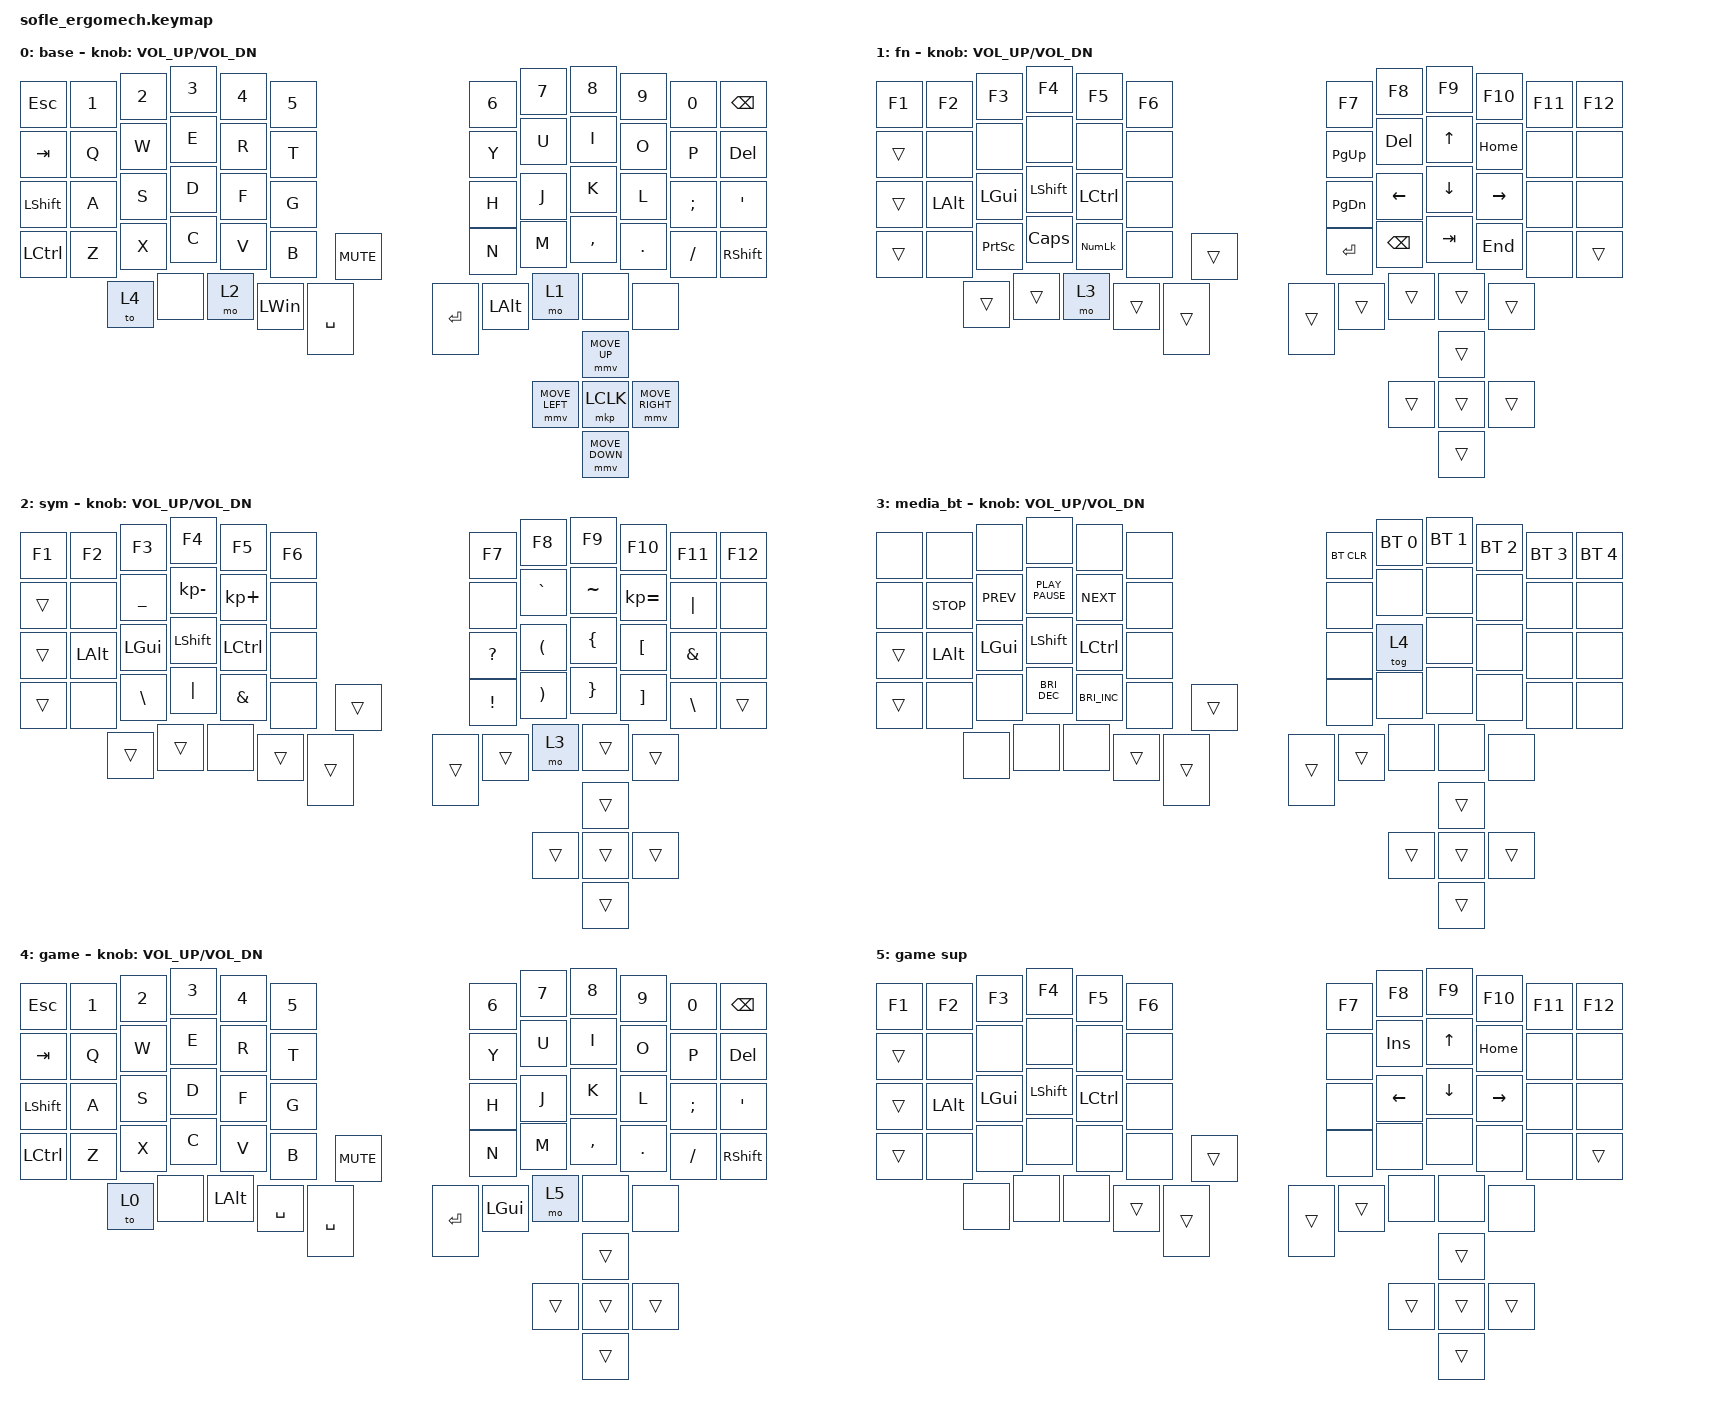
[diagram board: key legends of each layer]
/*
 * Copyright (c) 2020 The ZMK Contributors
 *
 * SPDX-License-Identifier: MIT
 */

#define ZMK_POINTING_DEFAULT_SCRL_VAL 300

#include <behaviors.dtsi>
#include <dt-bindings/zmk/bt.h>
#include <dt-bindings/zmk/keys.h>
#include <dt-bindings/zmk/pointing.h>

/ {
    conditional_layers { compatible = "zmk,conditional-layers"; };

    behaviors {
        mousescroll: mousescroll {
            compatible = "zmk,behavior-sensor-rotate";
            #sensor-binding-cells = <0>;
            bindings = <&msc SCRL_UP>, <&msc SCRL_DOWN>;
            tap-ms = <20>;
        };
    };

    keymap {
        compatible = "zmk,keymap";

        base {
            label = "base";

            // ------------------------------------------------------------------------------------------------------------
            // |   `   |  1  |  2  |  3   |  4   |  5   |                   |  6   |  7    |  8    |  9   |   0   |       |
            // |  ESC  |  Q  |  W  |  E   |  R   |  T   |                   |  Y   |  U    |  I    |  O   |   P   | BKSPC |
            // |  TAB  |  A  |  S  |  D   |  F   |  G   |                   |  H   |  J    |  K    |  L   |   ;   |   '   |
            // | SHIFT |  Z  |  X  |  C   |  V   |  B   |  MUTE  |  |       |  N   |  M    |  ,    |  .   |   /   | SHIFT |
            //               | GUI | ALT  | CTRL | LOWER|  ENTER |  | SPACE | RAISE| CTRL  | ALT   | GUI  |

            bindings = <
&kp ESCAPE        &kp N1  &kp N2  &kp N3  &kp N4        &kp N5     &kp N6      &kp N7           &kp N8        &kp N9          &kp N0          &kp BACKSPACE
&kp TAB           &kp Q   &kp W   &kp E   &kp R         &kp T      &kp Y       &kp U            &kp I         &kp O           &kp P           &kp DELETE
&kp LEFT_SHIFT    &kp A   &kp S   &kp D   &kp F         &kp G      &kp H       &kp J            &kp K         &kp L           &kp SEMI        &kp SQT
&kp LEFT_CONTROL  &kp Z   &kp X   &kp C   &kp V         &kp B      &kp N       &kp M            &kp COMMA     &kp DOT         &kp FSLH        &kp RSHFT
&kp C_MUTE        &to 4   &none   &mo 2   &kp LEFT_WIN  &kp SPACE  &kp RETURN  &kp LEFT_ALT     &mo 1         &none           &none
                                                                   &mkp LCLK   &mmv MOVE_RIGHT  &mmv MOVE_UP  &mmv MOVE_LEFT  &mmv MOVE_DOWN
            >;

            sensor-bindings = <&inc_dec_kp C_VOL_UP C_VOL_DN>;
        };

        function_keys {
            label = "fn";

            // TODO: Some binds are waiting for shifted keycode support.
            // ------------------------------------------------------------------------------------------------------------
            // |       |  F1 |  F2 |  F3  |  F4  |  F5  |                   |  F6  |  F7   |  F8   |  F9  |  F10  |  F11  |
            // |   `   |  1  |  2  |  3   |  4   |  5   |                   |  6   |  7    |  8    |  9   |   0   |  F12  |
            // |       |  !  |  @  |  #   |  $   |  %   |                   |  ^   |  &    |  *    |  (   |   )   |   |   |
            // |       |  =  |  -  |  +   |  {   |  }   |        |  |       |  [   |  ]    |  ;    |  :   |   \   |       |
            //               |     |      |      |      |        |  |       |      |       |       |      |

            bindings = <
&kp F1  &kp F2        &kp F3           &kp F4          &kp F5          &kp F6  &kp F7         &kp F8          &kp F9          &kp F10          &kp F11  &kp F12
&trans  &none         &none            &none           &none           &none   &kp PAGE_UP    &kp DEL         &kp UP_ARROW    &kp HOME         &none    &none
&trans  &kp LEFT_ALT  &kp LEFT_GUI     &kp LEFT_SHIFT  &kp LCTRL       &none   &kp PAGE_DOWN  &kp LEFT_ARROW  &kp DOWN_ARROW  &kp RIGHT_ARROW  &none    &none
&trans  &none         &kp PRINTSCREEN  &kp CAPSLOCK    &kp KP_NUMLOCK  &none   &kp ENTER      &kp BACKSPACE   &kp TAB         &kp END          &none    &trans
&trans  &trans        &trans           &mo 3           &trans          &trans  &trans         &trans          &trans          &trans           &trans
                                                                               &trans         &trans          &trans          &trans           &trans
            >;

            sensor-bindings = <&inc_dec_kp C_VOL_UP C_VOL_DN>;
        };

        symbols {
            label = "sym";

            // ------------------------------------------------------------------------------------------------------------
            // | BTCLR | BT1  | BT2  |  BT3  |  BT4  |  BT5 |                |      |      |       |      |       |       |
            // |       | INS  | PSCR | GUI   |       |      |                | PGUP |      |   ^   |      |       |       |
            // |       | ALT  | CTRL | SHIFT |       | CAPS |                | PGDN |   <- |   v   |  ->  |  DEL  | BKSPC |
            // |       | UNDO | CUT  | COPY  | PASTE |      |      |  |      |      |      |       |      |       |       |
            //                |      |       |       |      |      |  |      |      |      |       |      |

            bindings = <
&kp F1  &kp F2    &kp F3         &kp F4        &kp F5            &kp F6  &kp F7        &kp F8                 &kp F9           &kp F10            &kp F11        &kp F12
&trans  &none     &kp UNDER      &kp KP_MINUS  &kp KP_PLUS       &none   &none         &kp GRAVE              &kp TILDE        &kp KP_EQUAL       &kp PIPE       &none
&trans  &kp LALT  &kp LEFT_GUI   &kp LSHFT     &kp LEFT_CONTROL  &none   &kp QUESTION  &kp LEFT_PARENTHESIS   &kp LEFT_BRACE   &kp LEFT_BRACKET   &kp AMPERSAND  &none
&trans  &none     &kp BACKSLASH  &kp PIPE      &kp AMPERSAND     &none   &kp EXCL      &kp RIGHT_PARENTHESIS  &kp RIGHT_BRACE  &kp RIGHT_BRACKET  &kp BACKSLASH  &trans
&trans  &trans    &trans         &none         &trans            &trans  &trans        &trans                 &mo 3            &trans             &trans
                                                                         &trans        &trans                 &trans           &trans             &trans
            >;

            sensor-bindings = <&inc_dec_kp C_VOL_UP C_VOL_DN>;
        };

        media_and_bt {
            bindings = <
&none   &none         &none         &none                 &none                 &none   &bt BT_CLR  &bt BT_SEL 0  &bt BT_SEL 1  &bt BT_SEL 2  &bt BT_SEL 3  &bt BT_SEL 4
&none   &kp K_STOP    &kp K_PREV    &kp K_PLAY_PAUSE      &kp K_NEXT            &none   &none       &none         &none         &none         &none         &none
&trans  &kp LEFT_ALT  &kp LEFT_GUI  &kp LEFT_SHIFT        &kp LEFT_CONTROL      &none   &none       &tog 4        &none         &none         &none         &none
&trans  &none         &none         &kp C_BRIGHTNESS_DEC  &kp C_BRIGHTNESS_INC  &none   &none       &none         &none         &none         &none         &none
&trans  &none         &none         &none                 &trans                &trans  &trans      &trans        &none         &none         &none
                                                                                        &trans      &trans        &trans        &trans        &trans
            >;

            sensor-bindings = <&inc_dec_kp C_VOL_UP C_VOL_DN>;
            label = "media_bt";
        };

        game {
            // ----------------------------------------------------------------------------------------------------------------------------
            // | BTCLR  |  BT1    |  BT2    |   BT3   |   BT4   |   BT5   |                  |      |      |       |      |       |       |
            // | EXTPWR | RGB_HUD | RGB_HUI | RGB_SAD | RGB_SAI | RGB_EFF |                  |      |      |       |      |       |       |
            // |        | RGB_BRD | RGB_BRI |         |         |         |                  |      |      |       |      |       |       |
            // |        |         |         |         |         |         | RGB_TOG | |      |      |      |       |      |       |       |
            //                    |         |         |         |         |         | |      |      |      |       |      |

            label = "game";
            bindings = <
&kp ESC     &kp N1  &kp N2  &kp N3        &kp N4     &kp N5     &kp N6     &kp N7        &kp N8     &kp N9   &kp N0    &kp BSPC
&kp TAB     &kp Q   &kp W   &kp E         &kp R      &kp T      &kp Y      &kp U         &kp I      &kp O    &kp P     &kp DELETE
&kp LSHFT   &kp A   &kp S   &kp D         &kp F      &kp G      &kp H      &kp J         &kp K      &kp L    &kp SEMI  &kp APOS
&kp LCTRL   &kp Z   &kp X   &kp C         &kp V      &kp B      &kp N      &kp M         &kp COMMA  &kp DOT  &kp FSLH  &kp RSHFT
&kp K_MUTE  &to 0   &none   &kp LEFT_ALT  &kp SPACE  &kp SPACE  &kp ENTER  &kp LEFT_GUI  &mo 5      &none    &none
                                                                &trans     &trans        &trans     &trans   &trans
            >;

            sensor-bindings = <&inc_dec_kp C_VOL_UP C_VOL_DN>;
        };

        gaming_support {
            bindings = <
&kp F1  &kp F2    &kp F3    &kp F4     &kp F5     &kp F6  &kp F7  &kp F8          &kp F9          &kp F10    &kp F11  &kp F12
&trans  &none     &none     &none      &none      &none   &none   &kp INSERT      &kp UP_ARROW    &kp HOME   &none    &none
&trans  &kp LALT  &kp LGUI  &kp LSHFT  &kp LCTRL  &none   &none   &kp LEFT_ARROW  &kp DOWN_ARROW  &kp RIGHT  &none    &none
&trans  &none     &none     &none      &none      &none   &none   &none           &none           &none      &none    &trans
&trans  &none     &none     &none      &trans     &trans  &trans  &trans          &none           &none      &none
                                                          &trans  &trans          &trans          &trans     &trans
            >;

            label = "game sup";
        };
    };
};
